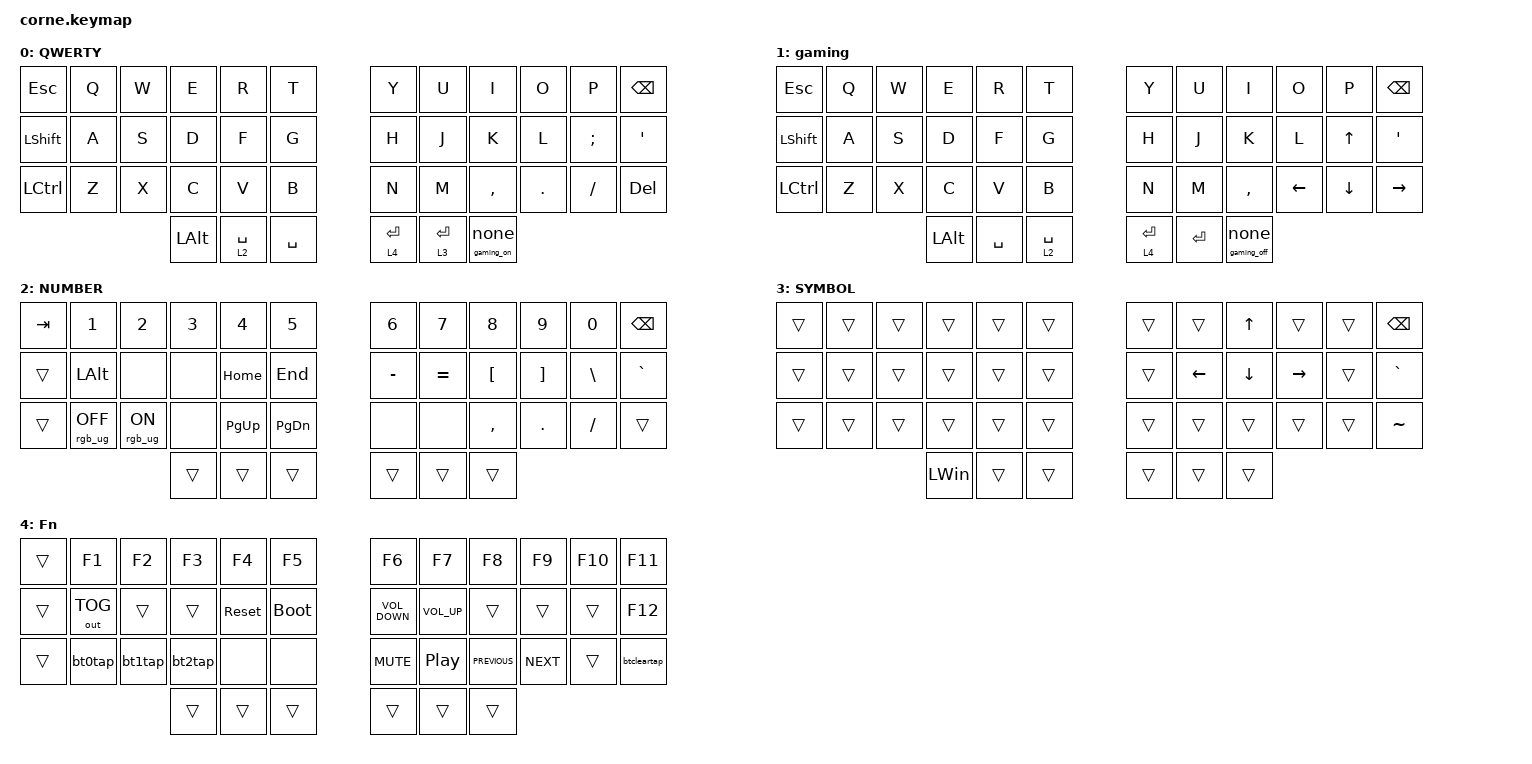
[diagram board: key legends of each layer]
/*
 * Copyright (c) 2020 The ZMK Contributors
 *
 * SPDX-License-Identifier: MIT
 */

#include <behaviors.dtsi>
#include <dt-bindings/zmk/bt.h>
#include <dt-bindings/zmk/keys.h>
#include <dt-bindings/zmk/outputs.h>
#include <dt-bindings/zmk/rgb.h>

/ {
    chosen {
        zmk,matrix_transform = &default_transform;

        // zmk,matrix_transform = &five_column_transform;
    };
};

/ {
    macros {
        gaming_on: gaming {
            compatible = "zmk,behavior-macro";
            #binding-cells = <0>;
            bindings = <&to 1 &rgb_ug RGB_ON &rgb_ug RGB_COLOR_HSB(277,43,47)>;
            label = "GAMING";
        };

        gaming_off: gaming_off {
            compatible = "zmk,behavior-macro";
            #binding-cells = <0>;
            bindings = <&to 0 &rgb_ug RGB_COLOR_HSB(37,70,54)>;
            label = "GAMING_OFF";
        };
    };

    combos { compatible = "zmk,combos"; };

    behaviors {
        holdgamingon: holdgamingon {
            compatible = "zmk,behavior-hold-tap";
            label = "HOLDGAMINGON";
            bindings = <&gaming_on>, <&none>;

            #binding-cells = <2>;
            tapping-term-ms = <500>;
        };

        holdgamingoff: holdgamingoff {
            compatible = "zmk,behavior-hold-tap";
            label = "HOLDGAMINGOFF";
            bindings = <&gaming_off>, <&none>;

            #binding-cells = <2>;
            tapping-term-ms = <500>;
        };

        bt0tap: bt0tap {
            compatible = "zmk,behavior-tap-dance";
            label = "BT0TAP";
            #binding-cells = <0>;
            bindings = <&none>, <&bt BT_SEL 0>;
        };

        bt1tap: bt1tap {
            compatible = "zmk,behavior-tap-dance";
            label = "BT1TAP";
            #binding-cells = <0>;
            bindings = <&none>, <&bt BT_SEL 1>;
        };

        bt2tap: bt2tap {
            compatible = "zmk,behavior-tap-dance";
            label = "BT2TAP";
            #binding-cells = <0>;
            bindings = <&none>, <&bt BT_SEL 2>;
        };

        btcleartap: btcleartap {
            compatible = "zmk,behavior-tap-dance";
            label = "BTCLEARTAP";
            #binding-cells = <0>;
            bindings = <&none>, <&bt BT_CLR_ALL>;
        };

        shiftEsc: shiftEsc {
            compatible = "zmk,behavior-tap-dance";
            label = "SHIFTESC";
            #binding-cells = <0>;
            bindings = <&kp LEFT_SHIFT>, <&kp ESCAPE>;
        };
    };

    keymap {
        compatible = "zmk,keymap";

        default_layer {
            display-name = "QWERTY";

            // --------------------------------------------------------------------------------
            // |  TAB |  Q  |  W  |  E  |  R  |  T  |   |  Y  |  U   |  I  |  O  |  P  | BKSP |
            // | CTRL |  A  |  S  |  D  |  F  |  G  |   |  H  |  J   |  K  |  L  |  ;  |  '   | 
            // | SHFT |  Z  |  X  |  C  |  V  |  B  |   |  N  |  M   |  ,  |  .  |  /  | ESC  |
            //                    | GUI | LWR | SPC |   | ENT | RSE  | ALT |

            bindings = <
&kp ESCAPE      &kp Q  &kp W  &kp E         &kp R        &kp T        &kp Y        &kp U      &kp I              &kp O    &kp P     &kp BSPC
&kp LEFT_SHIFT  &kp A  &kp S  &kp D         &kp F        &kp G        &kp H        &kp J      &kp K              &kp L    &kp SEMI  &kp SQT
&kp LCTRL       &kp Z  &kp X  &kp C         &kp V        &kp B        &kp N        &kp M      &kp COMMA          &kp DOT  &kp FSLH  &kp DELETE
                              &kp LEFT_ALT  &lt 2 SPACE  &kp SPACE    &lt 4 ENTER  &lt 3 RET  &holdgamingon 0 0
            >;
        };

        gaming {
            bindings = <
&kp ESC    &kp Q  &kp W  &kp E     &kp R      &kp T          &kp Y      &kp U    &kp I               &kp O     &kp P         &kp BSPC
&kp LSHFT  &kp A  &kp S  &kp D     &kp F      &kp G          &kp H      &kp J    &kp K               &kp L     &kp UP_ARROW  &kp APOS
&kp LCTRL  &kp Z  &kp X  &kp C     &kp V      &kp B          &kp N      &kp M    &kp COMMA           &kp LEFT  &kp DOWN      &kp RIGHT
                         &kp LALT  &kp SPACE  &lt 2 SPACE    &lt 4 RET  &kp RET  &holdgamingoff 0 0
            >;
        };

        lower_layer {
            display-name = "NUMBER";

            // -----------------------------------------------------------------------------------------
            // |  TAB |  1  |  2  |  3  |  4  |  5  |   |  6  |  7  |  8  |  9  |  0  | BKSP |
            // | BTCLR| BT1 | BT2 | BT3 | BT4 | BT5 |   | LFT | DWN |  UP | RGT |     |      |
            // | SHFT |     |     |     |     |     |   |     |     |     |     |     |      |
            //                    | GUI |     | SPC |   | ENT |     | ALT |

            bindings = <
&kp TAB  &kp N1           &kp N2          &kp N3  &kp N4       &kp N5           &kp N6     &kp N7     &kp N8            &kp N9             &kp N0         &kp BSPC
&trans   &kp LALT         &none           &none   &kp HOME     &kp END          &kp MINUS  &kp EQUAL  &kp LEFT_BRACKET  &kp RIGHT_BRACKET  &kp BACKSLASH  &kp GRAVE
&trans   &rgb_ug RGB_OFF  &rgb_ug RGB_ON  &none   &kp PAGE_UP  &kp PAGE_DOWN    &none      &none      &kp COMMA         &kp PERIOD         &kp SLASH      &trans
                                          &trans  &trans       &trans           &trans     &trans     &trans
            >;
        };

        raise_layer {
            display-name = "SYMBOL";

            // -----------------------------------------------------------------------------------------
            // |  TAB |  !  |  @  |  #  |  $  |  %  |   |  ^  |  &  |  *  |  (  |  )  | BKSP |
            // | CTRL |     |     |     |     |     |   |  -  |  =  |  [  |  ]  |  \  |  `   |
            // | SHFT |     |     |     |     |     |   |  _  |  +  |  {  |  }  | "|" |  ~   |
            //                    | GUI |     | SPC |   | ENT |     | ALT |

            bindings = <
&trans  &trans  &trans  &trans        &trans  &trans    &trans  &trans    &kp UP_ARROW  &trans     &trans  &kp BSPC
&trans  &trans  &trans  &trans        &trans  &trans    &trans  &kp LEFT  &kp DOWN      &kp RIGHT  &trans  &kp GRAVE
&trans  &trans  &trans  &trans        &trans  &trans    &trans  &trans    &trans        &trans     &trans  &kp TILDE
                        &kp LEFT_WIN  &trans  &trans    &trans  &trans    &trans
            >;
        };

        layer_3 {
            display-name = "Fn";
            bindings = <
&trans  &kp F1        &kp F2   &kp F3   &kp F4      &kp F5         &kp F6             &kp F7            &kp F8          &kp F9      &kp F10  &kp F11
&trans  &out OUT_TOG  &trans   &trans   &sys_reset  &bootloader    &kp C_VOLUME_DOWN  &kp C_VOLUME_UP   &trans          &trans      &trans   &kp F12
&trans  &bt0tap       &bt1tap  &bt2tap  &none       &none          &kp C_MUTE         &kp C_PLAY_PAUSE  &kp C_PREVIOUS  &kp C_NEXT  &trans   &btcleartap
                               &trans   &trans      &trans         &trans             &trans            &trans
            >;
        };
    };
};
